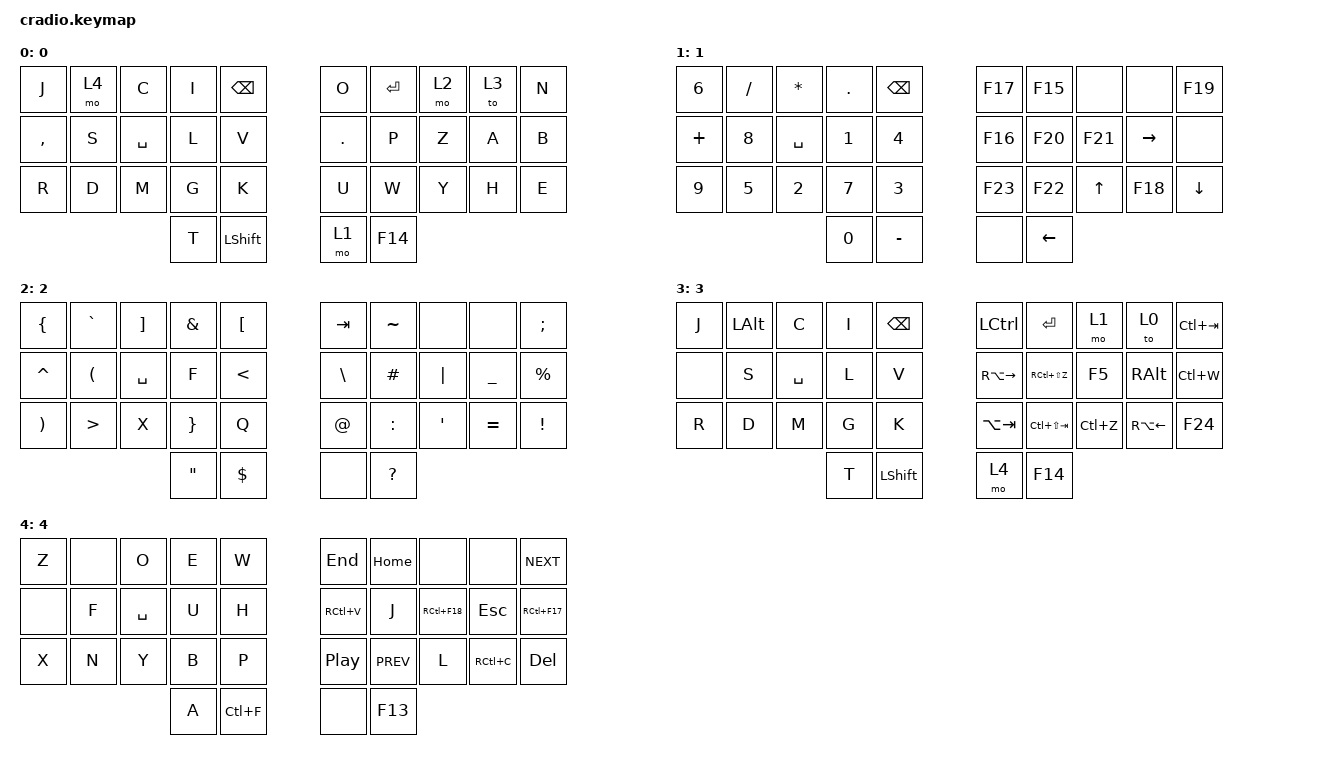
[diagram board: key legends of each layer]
// Copyright (c) 2022 The ZMK Contributors
// SPDX-License-Identifier: MIT

#include <behaviors.dtsi>
#include <dt-bindings/zmk/keys.h>
#include <dt-bindings/zmk/bt.h>

/ {
    behaviors {
        ht: hold_tap {
            compatible = "zmk,behavior-hold-tap";
            #binding-cells = <2>;
            flavor = "tap-preferred";
            tapping-term-ms = <220>;
            quick-tap-ms = <150>;
            require-prior-idle-ms = <100>;
            bindings = <&kp>, <&kp>;
        };
    };

    keymap {
        compatible = "zmk,keymap";
        0 {
            bindings = <    

&kp J       &mo 4       &kp C       &kp I        &kp BSPC       &kp O          &kp ENTER       &mo 2       &to 3         &kp N 
&kp COMMA   &kp S       &kp SPACE   &kp L        &kp V          &kp DOT        &kp P           &kp Z       &kp A         &kp B
&kp R       &kp D       &kp M       &kp G        &kp K          &kp U          &kp W           &kp Y       &kp H         &kp E
                                    &kp T        &kp LSHFT      &mo 1          &kp F14
            >;
        };

        1 {
            bindings = <

&kp N6      &kp FSLH    &kp STAR    &kp DOT      &kp BSPC       &kp F17        &kp F15         &none       &none         &kp F19 
&kp PLUS    &kp N8      &kp SPACE   &kp N1       &kp N4         &kp F16        &kp F20         &kp F21     &kp RIGHT     &none 
&kp N9      &kp N5      &kp N2      &kp N7       &kp N3         &kp F23        &kp F22         &kp UP      &kp F18       &kp DOWN
                                    &kp N0       &kp MINUS      &none          &kp LEFT
            >;
        };

        2 {
            bindings = <

&kp LBRC    &kp GRAVE   &kp RBKT    &kp AMPS     &kp LBKT       &kp TAB        &kp TILDE       &none       &none         &kp SEMI 
&kp CARET   &kp LPAR    &kp SPACE   &kp F        &kp LT         &kp BSLH       &kp HASH        &kp PIPE    &kp UNDER     &kp PRCNT
&kp RPAR    &kp GT      &kp X       &kp RBRC     &kp Q          &kp AT         &kp COLON       &kp SQT     &kp EQUAL     &kp EXCL
                                    &kp DQT      &kp DLLR       &none          &kp QMARK
            >;
        };

        3 {
            bindings = <

&kp J       &kp LALT    &kp C       &kp I        &kp BSPC       &kp LCTL       &kp ENTER       &mo 1       &to 0         &kp LC(TAB) 
&none       &kp S       &kp SPACE   &kp L        &kp V          &kp RA(RIGHT)  &kp RC(LS(Z))   &kp F5      &kp RALT      &kp LC(W)
&kp R       &kp D       &kp M       &kp G        &kp K          &kp LA(TAB)    &kp LC(LS(TAB)) &kp LC(Z)   &kp RA(LEFT)  &kp F24
                                    &kp T        &kp LSHFT      &mo 4          &kp F14
            >;
        };
4 {
            bindings = <
&kp Z       &none       &kp O       &kp E        &kp W          &kp END        &kp HOME        &none       &none         &kp C_NEXT 
&none       &kp F       &kp SPACE   &kp U        &kp H          &kp RC(V)      &kp J           &kp RC(F18) &kp ESC       &kp RC(F17) 
&kp X       &kp N       &kp Y       &kp B        &kp P          &kp C_PP       &kp C_PREV      &kp L       &kp RC(C)     &kp DEL
                                    &kp A        &kp LC(F)      &none          &kp F13
            >;
        };
    };
};
